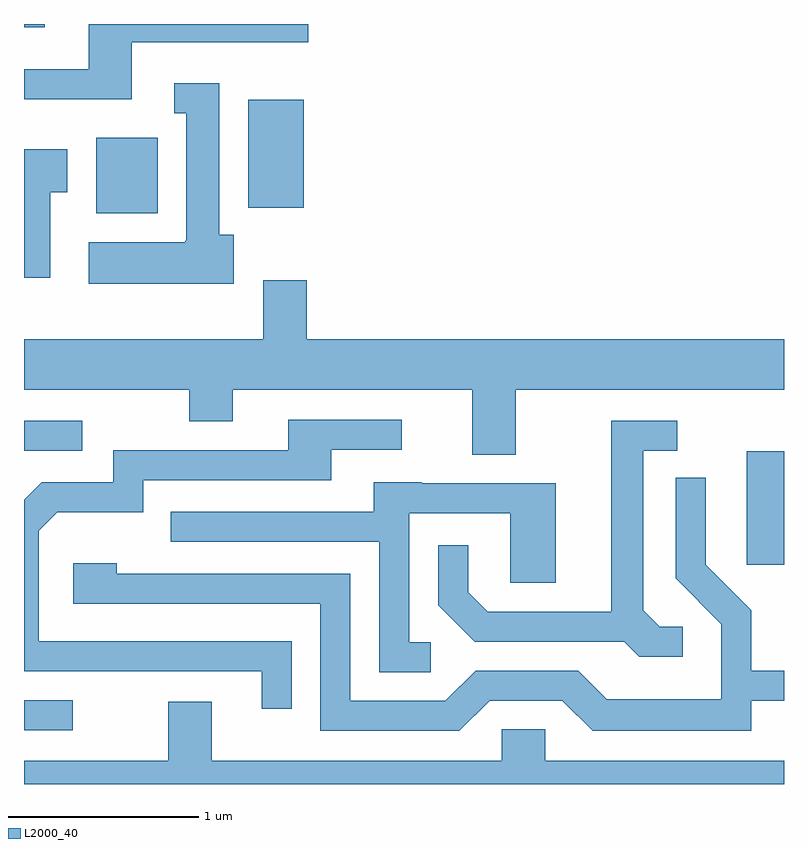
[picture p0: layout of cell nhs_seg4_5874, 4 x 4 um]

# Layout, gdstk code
import gdstk
lib = gdstk.Library(unit=1e-6, precision=1e-09)
def R(c, l, rs):  # rectangles x0, y0, x1, y1
    for r in rs: c.add(gdstk.rectangle(r[:2], r[2:], *l))
def P(c, l, *ps):  # polygons
    for p in ps: c.add(gdstk.Polygon(p, *l))
L2000_40 = (2000, 40)

nhs_seg4_5874 = lib.new_cell('nhs_seg4_5874')
R(nhs_seg4_5874, L2000_40, [(357.611,1306.266,357.868,1306.424), (361.416,1307.136,361.611,1307.734), (357.611,1307.736,357.918,1307.894), (357.991,1308.986,358.314,1309.384), (358.791,1309.016,359.084,1309.584), (357.611,1309.966,357.719,1309.982)])
P(nhs_seg4_5874, L2000_40, [(358.179,1309.886),(359.108,1309.886),(359.108,1309.982),(357.951,1309.982),(357.951,1309.744),(357.611,1309.744),(357.611,1309.586),(358.179,1309.586)],
  [(358.714,1308.874),(358.639,1308.874),(358.639,1309.669),(358.403,1309.669),(358.403,1309.511),(358.466,1309.511),(358.466,1308.84),(358.46,1308.84),(358.46,1308.834),(357.951,1308.834),(357.951,1308.616),(358.714,1308.616)],
  [(357.749,1309.096),(357.839,1309.096),(357.839,1309.324),(357.611,1309.324),(357.611,1308.646),(357.749,1308.646)],
  [(360.199,1308.056),(361.611,1308.056),(361.611,1308.324),(359.099,1308.324),(359.099,1308.634),(358.871,1308.634),(358.871,1308.324),(357.611,1308.324),(357.611,1308.056),(358.481,1308.056),(358.481,1307.891),(358.709,1307.891),(358.709,1308.056),(359.971,1308.056),(359.971,1307.716),(360.199,1307.716)],
  [(359.019,1306.734),(357.689,1306.734),(357.689,1307.314),(357.787,1307.411),(358.239,1307.411),(358.239,1307.581),(359.229,1307.581),(359.229,1307.741),(359.598,1307.741),(359.598,1307.899),(359.001,1307.899),(359.001,1307.739),(358.081,1307.739),(358.081,1307.569),(357.704,1307.569),(357.611,1307.477),(357.611,1306.576),(358.861,1306.576),(358.861,1306.378),(359.019,1306.378)],
  [(361.078,1306.809),(360.957,1306.809),(360.869,1306.897),(360.869,1307.736),(361.048,1307.736),(361.048,1307.894),(360.701,1307.894),(360.701,1306.889),(360.052,1306.889),(359.949,1306.992),(359.949,1307.238),(359.791,1307.238),(359.791,1306.924),(359.984,1306.731),(360.769,1306.731),(360.849,1306.651),(361.078,1306.651)],
  [(360.062,1306.421),(360.444,1306.421),(360.604,1306.261),(361.439,1306.261),(361.439,1306.421),(361.611,1306.421),(361.611,1306.579),(361.439,1306.579),(361.439,1306.897),(361.199,1307.137),(361.199,1307.593),(361.041,1307.593),(361.041,1307.064),(361.281,1306.824),(361.281,1306.429),(360.677,1306.429),(360.527,1306.579),(359.989,1306.579),(359.829,1306.419),(359.329,1306.419),(359.329,1307.089),(358.099,1307.089),(358.099,1307.144),(357.871,1307.144),(357.871,1306.931),(359.171,1306.931),(359.171,1306.261),(359.902,1306.261)],
  [(359.753,1306.729),(359.639,1306.729),(359.639,1307.406),(360.171,1307.406),(360.171,1307.041),(360.409,1307.041),(360.409,1307.564),(359.705,1307.564),(359.705,1307.569),(359.451,1307.569),(359.451,1307.414),(358.383,1307.414),(358.383,1307.256),(359.481,1307.256),(359.481,1306.571),(359.753,1306.571)],
  [(361.611,1306.104),(360.354,1306.104),(360.354,1306.269),(360.126,1306.269),(360.126,1306.104),(358.599,1306.104),(358.599,1306.414),(358.371,1306.414),(358.371,1306.104),(357.611,1306.104),(357.611,1305.982),(361.611,1305.982)])

lib.write_gds('nhs_seg4_5874.gds')
